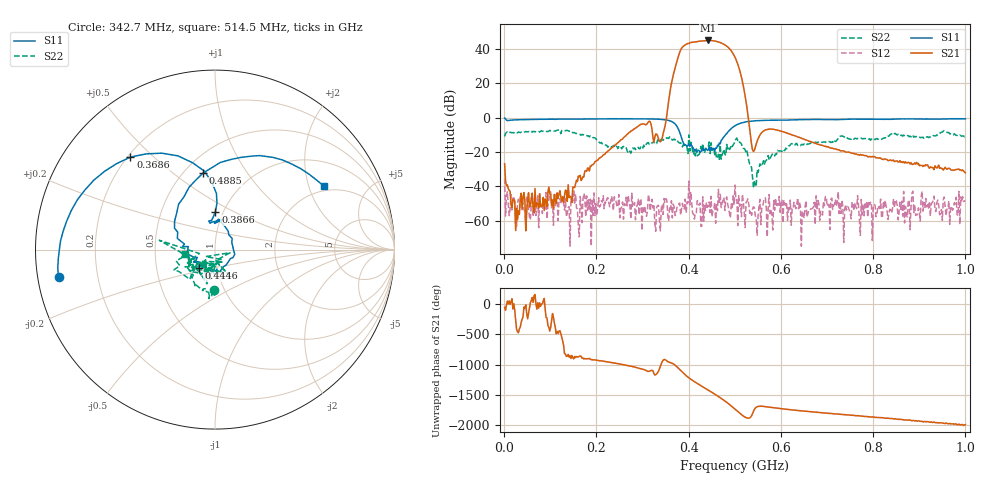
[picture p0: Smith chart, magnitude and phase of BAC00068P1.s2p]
!measured: 2026-10-27T15:28:14
!cal_instance: BBtestOct27
!cal_created: 2026-10-27T14:45
!cal_file: BBtesting.cal
!port1_delay_ps: -58.63
!port2_delay_ps: -59.31
!host: dhcp-10-250-247-203.harvard.edu
! Created with skrf 2.1.0 (http://scikit-rf.org).
# Hz S RI R 50.0
!freq ReS11 ImS11 ReS21 ImS21 ReS12 ImS12 ReS22 ImS22
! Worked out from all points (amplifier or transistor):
!   501 points, 1 MHz to 1 GHz, reference 50 ohm
!   highest |S21| = 45.0 dB at 442.6 MHz (marker M1)
!   |S21| within 3 dB of that: 390.2 MHz to 480.9 MHz (90.72 MHz wide, 20.8 % of centre)
!   unconditionally stable (mu >= 1): start of sweep to 399.8 MHz; 405.3 MHz to 448.4 MHz; 501.4 MHz to end of sweep (the widest 3 of 8)
!   at 166.8 MHz: K = 1845.66, MAG = -28.5 dB, |S12| = -51.0 dB
!   at 500.5 MHz: K = 0.72, MSG = 37.2 dB, |S12| = -39.3 dB
!   at 1 GHz: K = 739.65, MAG = -23.4 dB, |S12| = -48.8 dB
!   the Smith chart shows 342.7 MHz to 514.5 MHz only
!   S11 on the Smith chart (normalised r, x): 342.7 MHz: 0.06, -0.09; 368.6 MHz: 0.21, +0.42; 386.6 MHz: 0.92, +0.40; 444.6 MHz: 0.82, -0.17; 488.5 MHz: 0.62, +0.64; 514.5 MHz: 1.82, +2.54
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1000000  -0.3371 0.9216  0.0276 -0.0358  0.00121 0.0171  0.2846 0.00393
1.68832e8  0.4754 -0.779  -0.016 -0.00262  -0.00085 -0.000182  -0.0305 -0.3249
3.34666e8  -0.8443 -0.3226  0.2209 -0.0996  -0.00109 0.00257  0.0599 -0.1862
3.42658e8  -0.8718 -0.1551  -0.1608 0.1942  -0.00283 0.000881  -0.00697 -0.2256
3.68632e8  -0.4713 0.5154  1.435 22.26  -0.00124 -0.00219  -0.0668 -0.229
3.78622e8  -0.0575 0.4358  64.94 17.95  -0.0027 0.00133  -0.1209 -0.1428
3.86614e8  0.00209 0.2104  83.25 -78.2  0.00274 0.00163  -0.1304 -0.0524
3.96604e8  -0.0276 0.1465  -53.41 -132.2  -0.00333 0.000957  -0.1215 -0.048
4.1059e8  0.0735 0.1028  -157.8 24.18  0.000395 -0.00149  -0.0469 -0.0706
4.26574e8  0.062 -0.0861  -17.25 170.4  0.000363 -0.000571  -0.0538 -0.1349
4.34566e8  0.00457 -0.1172  90.96 149.3  0.00107 0.00255  0.000472 -0.0924
4.42558e8  -0.0788 -0.084  164.9 67.99  -0.000648 -0.00255  -0.106 -0.0936
4.44556e8  -0.0918 -0.1047  172.4 40.38  0.00349 3.04e-05  -0.0447 -0.1906
4.52548e8  -0.0954 -0.069  159.5 -72.08  -0.000847 0.00168  -0.0377 -0.1186
4.64536e8  -0.149 0.017  20.11 -160.2  0.00527 -0.00623  0.0837 -0.0174
4.76524e8  -0.225 0.1595  -112.5 -79.29  -0.00469 0.000549  -0.0411 -0.1131
4.88512e8  -0.0684 0.4249  -85.11 57.33  0.000316 0.00156  -0.0169 -0.1174
5.005e8  0.2481 0.5237  20.41 53.68  -0.0107 -0.00175  -0.1395 -0.1656
5.14486e8  0.6082 0.3522  14.09 -5.839  -0.00117 0.00059  -0.1687 -0.022
6.68332e8  -0.0267 -0.884  0.1761 0.0778  0.00171 -0.00147  0.0233 -0.1763
8.34166e8  -0.6591 -0.6101  0.00698 -0.056  -0.00115 -0.00125  -0.1651 -0.2379
1e9  -0.9106 -0.1649  -0.0244 0.00331  -0.0021 -0.00294  -0.2306 -0.1744
